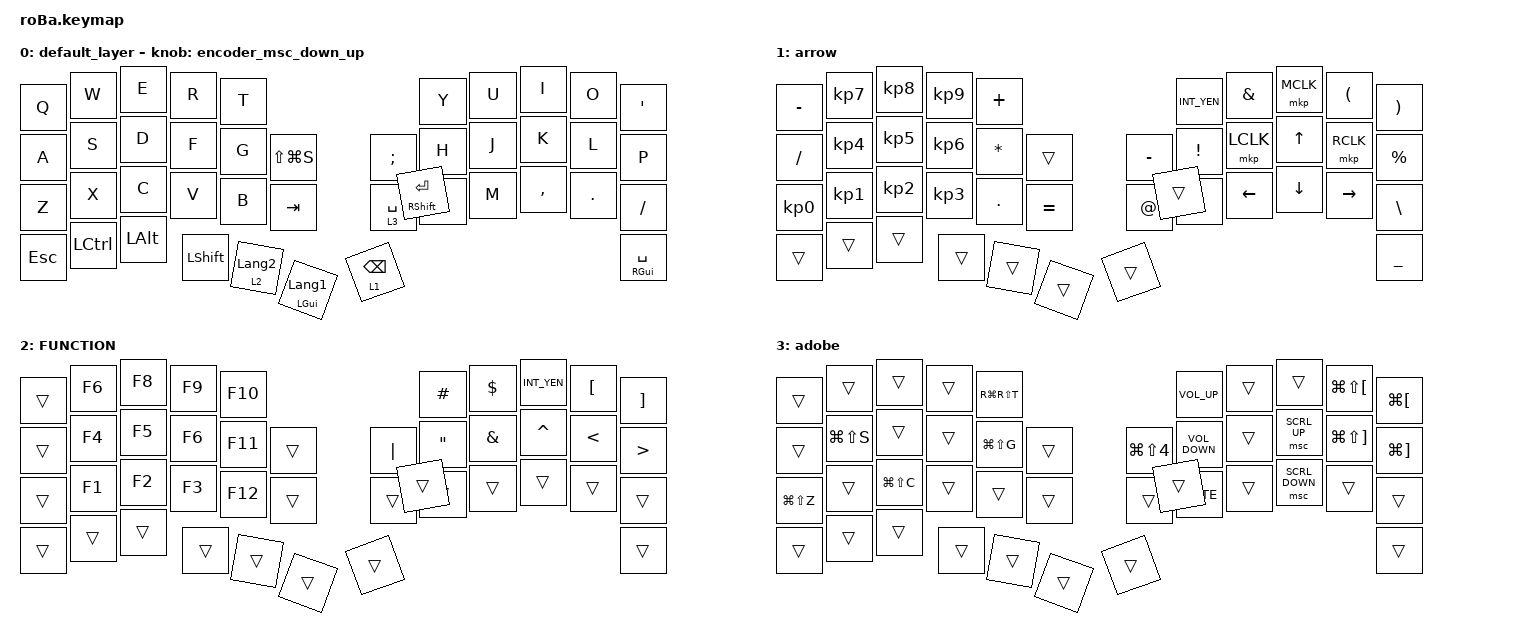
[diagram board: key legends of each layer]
#include <behaviors.dtsi>
#include <dt-bindings/zmk/keys.h>
#include <dt-bindings/zmk/pointing.h>

#define ZMK_POINTING_DEFAULT_SCRL_VAL 80

&mt {
    quick-tap-ms = <0>;
    retro-tap;
};

&lt {
    flavor = "hold-preferred";
    retro-tap;
};

&trackball {
    automouse-layer = <4>;
    scroll-layers = <5>;

    // arrows {
    //     layers = <3>;
    //     bindings =
    //         <&kp RIGHT_ARROW>,
    //         <&kp LEFT_ARROW>,
    //         <&kp UP_ARROW>,
    //         <&kp DOWN_ARROW>;
    //     tick = <10>;
    //     wait-ms = <5>;
    //     tap-ms = <5>;
    // };
};

/ {
    combos {
        compatible = "zmk,combos";

        tab {
            bindings = <&kp TAB>;
            key-positions = <11 12>;
        };

        Alt+Space {
            bindings = <&kp LA(SPACE)>;
            key-positions = <13 12>;
        };
    };

    macros {
        to_layer_0: to_layer_0 {
            compatible = "zmk,behavior-macro-one-param";
            #binding-cells = <1>;
            bindings = <&to 0 &macro_param_1to1 &kp MACRO_PLACEHOLDER>;
            label = "TO_LAYER_0";
        };
    };

    behaviors {
        lt_to_layer_0: lt_to_layer_0 {
            compatible = "zmk,behavior-hold-tap";
            label = "LAYER_TAP_TO_0";
            bindings = <&kp>, <&to>;

            #binding-cells = <2>;
            tapping-term-ms = <200>;
            flavor = "tap-preferred";
        };

        encoder_msc_down_up: encoder_msc_down_up {
            compatible = "zmk,behavior-sensor-rotate";
            label = "ENCODER_MSC_DOWN_UP";
            #sensor-binding-cells = <0>;
            bindings = <&msc SCRL_DOWN>, <&msc SCRL_UP>;

            tap-ms = <20>;
        };
    };

    keymap {
        compatible = "zmk,keymap";

        default_layer {
            bindings = <
&kp Q       &kp W             &kp E         &kp R           &kp T                                                           &kp Y                  &kp U  &kp I      &kp O    &kp SINGLE_QUOTE
&kp A       &kp S             &kp D         &kp F           &kp G             &kp LS(LG(S))                &kp SEMICOLON    &kp H                  &kp J  &kp K      &kp L    &kp P
&kp Z       &kp X             &kp C         &kp V           &kp B             &kp TAB                      &lt 3 SPACE      &kp N                  &kp M  &kp COMMA  &kp DOT  &kp SLASH
&kp ESCAPE  &kp LEFT_CONTROL  &kp LEFT_ALT  &kp LEFT_SHIFT  &lt 2 LANGUAGE_2  &mt LEFT_GUI LANGUAGE_1      &lt 1 BACKSPACE  &mt RIGHT_SHIFT ENTER                             &mt RIGHT_GUI SPACE
            >;

            sensor-bindings = <&encoder_msc_down_up>;
        };

        arrow {
            bindings = <
&kp MINUS        &kp KP_NUMBER_7  &kp KP_NUMBER_8  &kp KP_NUMBER_9  &kp PLUS                                &kp INT_YEN      &kp AMPERSAND   &mkp MCLK       &kp LEFT_PARENTHESIS  &kp RIGHT_PARENTHESIS
&kp SLASH        &kp KP_NUMBER_4  &kp KP_NUMBER_5  &kp KP_NUMBER_6  &kp ASTERISK  &trans         &kp MINUS  &kp EXCLAMATION  &mkp LCLK       &kp UP_ARROW    &mkp RCLK             &kp PERCENT
&kp KP_NUMBER_0  &kp KP_NUMBER_1  &kp KP_NUMBER_2  &kp KP_NUMBER_3  &kp PERIOD    &kp EQUAL      &kp AT     &kp QMARK        &kp LEFT_ARROW  &kp DOWN_ARROW  &kp RIGHT_ARROW       &kp BACKSLASH
&trans           &trans           &trans           &trans           &trans        &trans         &trans     &trans                                                                 &kp UNDER
            >;
        };

        FUNCTION {
            bindings = <
&trans  &kp F6  &kp F8  &kp F9  &kp F10                        &kp HASH           &kp DOLLAR     &kp INT_YEN  &kp LEFT_BRACKET  &kp RIGHT_BRACKET
&trans  &kp F4  &kp F5  &kp F6  &kp F11  &trans      &kp PIPE  &kp DOUBLE_QUOTES  &kp AMPERSAND  &kp CARET    &kp LESS_THAN     &kp GREATER_THAN
&trans  &kp F1  &kp F2  &kp F3  &kp F12  &trans      &trans    &trans             &trans         &trans       &trans            &trans
&trans  &trans  &trans  &trans  &trans   &trans      &trans    &trans                                                           &trans
            >;
        };

        adobe {
            bindings = <
&trans         &trans         &trans         &trans  &kp RG(RS(T))                                    &kp K_VOLUME_UP    &trans  &trans          &kp LG(LS(LEFT_BRACKET))   &kp LG(LEFT_BRACKET)
&trans         &kp LG(LS(S))  &trans         &trans  &kp LG(LS(G))  &trans      &kp LG(LS(NUMBER_4))  &kp K_VOLUME_DOWN  &trans  &msc SCRL_UP    &kp LG(LS(RIGHT_BRACKET))  &kp LG(RIGHT_BRACKET)
&kp LG(LS(Z))  &trans         &kp LG(LS(C))  &trans  &trans         &trans      &trans                &kp K_MUTE         &trans  &msc SCRL_DOWN  &trans                     &trans
&trans         &trans         &trans         &trans  &trans         &trans      &trans                &trans                                                                &trans
            >;
        };
    };
};
